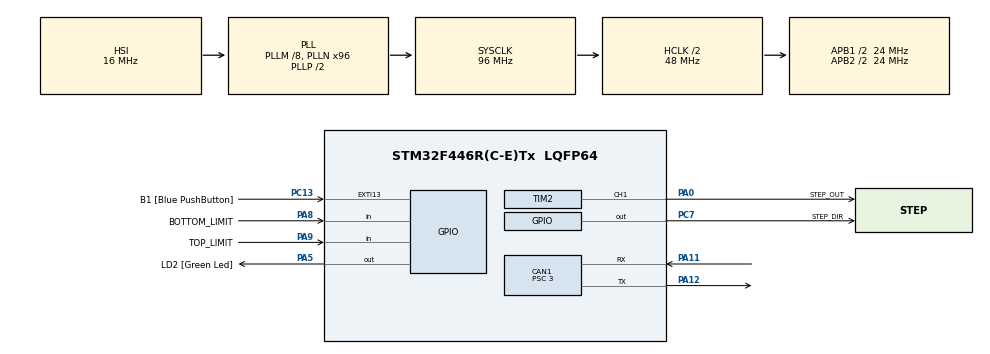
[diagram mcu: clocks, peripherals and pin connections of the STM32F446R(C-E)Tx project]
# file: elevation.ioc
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CAN1.BS1=CAN_BS1_13TQ
CAN1.BS2=CAN_BS2_2TQ
CAN1.CalculateBaudRate=500000
CAN1.CalculateTimeBit=2000
CAN1.CalculateTimeQuantum=125.0
CAN1.Prescaler=3
Mcu.Family=STM32F4
Mcu.Name=STM32F446R(C-E)Tx
Mcu.Package=LQFP64
NVIC.CAN1_RX0_IRQn=true\:0\:0\:false\:false\:true\:true\:true\:true
NVIC.PriorityGroup=NVIC_PRIORITYGROUP_0
NVIC.TIM2_IRQn=true\:0\:0\:false\:false\:true\:true\:true\:true
PA0-WKUP.GPIO_Label=STEP_OUT
PA0-WKUP.Signal=S_TIM2_CH1_ETR
PA11.Mode=CAN_Activate
PA11.Signal=CAN1_RX
PA12.Mode=CAN_Activate
PA12.Signal=CAN1_TX
PA13.GPIO_Label=TMS
PA13.Signal=SYS_JTMS-SWDIO
PA14.GPIO_Label=TCK
PA14.Signal=SYS_JTCK-SWCLK
PA2.GPIO_Label=USART_TX
PA2.Signal=USART2_TX
PA3.GPIO_Label=USART_RX
PA3.Signal=USART2_RX
PA5.GPIO_Label=LD2 [Green Led]
PA5.Signal=GPIO_Output
PA8.GPIO_Label=BOTTOM_LIMIT
PA8.GPIO_PuPd=GPIO_PULLUP
PA8.Signal=GPIO_Input
PA9.GPIO_Label=TOP_LIMIT
PA9.GPIO_PuPd=GPIO_PULLUP
PA9.Signal=GPIO_Input
PB3.GPIO_Label=SWO
PB3.Signal=SYS_JTDO-SWO
PC13.GPIO_Label=B1 [Blue PushButton]
PC13.GPIO_ModeDefaultEXTI=GPIO_MODE_IT_FALLING
PC13.Signal=GPXTI13
PC14-OSC32_IN.Signal=RCC_OSC32_IN
PC15-OSC32_OUT.Signal=RCC_OSC32_OUT
PC7.GPIO_Label=STEP_DIR
PC7.GPIO_PuPd=GPIO_PULLDOWN
PC7.PinState=GPIO_PIN_SET
PC7.Signal=GPIO_Output
PH0-OSC_IN.Signal=RCC_OSC_IN
PH1-OSC_OUT.Signal=RCC_OSC_OUT
ProjectManager.HeapSize=0x200
ProjectManager.StackSize=0x400
ProjectManager.TargetToolchain=STM32CubeIDE
RCC.AHBCLKDivider=RCC_SYSCLK_DIV2
RCC.AHBFreq_Value=48000000
RCC.APB1CLKDivider=RCC_HCLK_DIV2
RCC.APB1Freq_Value=24000000
RCC.APB1TimFreq_Value=48000000
RCC.APB2CLKDivider=RCC_HCLK_DIV2
RCC.APB2Freq_Value=24000000
RCC.APB2TimFreq_Value=48000000
RCC.CortexFreq_Value=48000000
RCC.FLatency-AdvancedSettings=FLASH_LATENCY_1
RCC.HCLKFreq_Value=48000000
RCC.HSE_VALUE=8000000
RCC.HSI_VALUE=16000000
RCC.LSE_VALUE=32768
RCC.PLLM=8
RCC.PLLN=96
RCC.SYSCLKFreq_VALUE=96000000
RCC.SYSCLKSource=RCC_SYSCLKSOURCE_PLLCLK
RCC.USBFreq_Value=96000000
RCC.VCOOutputFreq_Value=192000000
SH.S_TIM2_CH1_ETR.0=TIM2_CH1,PWM Generation1 CH1
TIM2.Channel-PWM\ Generation1\ CH1=TIM_CHANNEL_1
TIM2.Prescaler=47
board=NUCLEO-F446RE

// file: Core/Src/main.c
/* USER CODE BEGIN Header */
/**
  ******************************************************************************
  * @file           : main.c
  * @brief          : Main program body
  ******************************************************************************
  * @attention
  *
  * Copyright (c) 2026 STMicroelectronics.
  * All rights reserved.
  *
  * This software is licensed under terms that can be found in the LICENSE file
  * in the root directory of this software component.
  * If no LICENSE file comes with this software, it is provided AS-IS.
  *
  ******************************************************************************
  */
/* USER CODE END Header */
#include "main.h"

/* USER CODE BEGIN Includes */
#include "can_device.h"
#include "math.h"
/* USER CODE END Includes */

/* USER CODE BEGIN PD */
// subsystem constants
#define MIN_HEIGHT 0 // TODO needs to be calculated and set based on physical measurements (meters)
#define MAX_HEIGHT 3.0 // TODO needs to be calculated and set based on physical measurements (meters)

#define CONV_FACTOR 769230.7692

#define MOTOR_DIR_UP 0
#define MOTOR_DIR_DOWN 1

// ---------------- CAN message constants (can be added to form message) ----------------
// device id bits [8:5]
#define CAN_DEV_ID 0x100

// priority bits (first two bits of CAN ID)
#define CAN_PR_CRIT 0x000 // 0b00
#define CAN_PR_CTRL 0x200 // 0b01
#define CAN_PR_STAT 0x400 // 0b10
#define CAN_PR_DBUG 0x600 // 0b11

// message type bits (last five bits)
#define FILLER_MESSAGE 0x000

// CAN receive filter IDs
#define CAN_MSG_GLOBAL_STOP 0x000
#define CAN_MSG_HEARTBEAT 0x001
#define CAN_MSG_SET_HEIGHT 0x224

#define FILTER_LIST_LEN 3

/* USER CODE END PD */

CAN_HandleTypeDef hcan1;

TIM_HandleTypeDef htim2;

/* USER CODE BEGIN PV */
CANDevice_t can_dev;
uint16_t rx_id_list[] = {CAN_MSG_GLOBAL_STOP, CAN_MSG_HEARTBEAT, CAN_MSG_SET_HEIGHT};

float current_height = 0; // should be the height of the platform and is respective to both motors

// stepping vars
uint32_t steps_remaining = 0;
uint8_t motor_moving = 0;
uint8_t update_height_flag = 0;
float target_height = 0.0;
uint16_t motor_delay_us = 200; // delay between pulses using pwm counter, in micro seconds

// set the incremental height count
float height_inc = 1 / CONV_FACTOR;

/* USER CODE END PV */

void SystemClock_Config(void);
static void MX_GPIO_Init(void);
static void MX_CAN1_Init(void);
static void MX_TIM2_Init(void);
/* USER CODE BEGIN PFP */
// CAN function callback plus helpers
static void can_rx_callback(CANDevice_t *device);
static void proccess_can_data(uint16_t message_id, uint8_t *data);

// stepper control functions
static void start_motor_movement(uint32_t steps, uint8_t direction, uint16_t delay_us_seconds); // direction: 0 is up and 1 is down

// limit switch functions
static int get_bottom_limit();
static int get_top_limit();

// helper functions
static int dist_to_steps(double height);
static float steps_to_dist(int steps);
/* USER CODE END PFP */

int main(void)
{

  /* MCU Configuration--------------------------------------------------------*/

  /* Reset of all peripherals, Initializes the Flash interface and the Systick. */
  HAL_Init();

  /* Configure the system clock */
  SystemClock_Config();

  /* Initialize all configured peripherals */
  MX_GPIO_Init();
  MX_CAN1_Init();
  MX_TIM2_Init();
  /* USER CODE BEGIN 2 */
  // start CAN device
  device_can_init(&can_dev, &hcan1);

  // config the CAN device filter banks
  can_config_filter(&can_dev, rx_id_list, FILTER_LIST_LEN);

  // link the can rx callback
  link_rx_callback(&can_dev, can_rx_callback);
  /* USER CODE END 2 */

  /* Infinite loop */
  /* USER CODE BEGIN WHILE */
  target_height = -1;
  update_height_flag = 1;
  while (1)
  {
	  if(get_bottom_limit()) current_height = MIN_HEIGHT;
	  if(get_top_limit()) current_height = MAX_HEIGHT;

	  if(update_height_flag) {
		  update_height_flag = 0;

		  float height_diff = target_height - current_height;
		  int steps = dist_to_steps(height_diff);

		  if (height_diff > 0) {
			  start_motor_movement(steps, MOTOR_DIR_UP, motor_delay_us);
		  } else if (height_diff < 0) {
			  start_motor_movement(steps, MOTOR_DIR_DOWN, motor_delay_us);
		  }
	  }

    /* USER CODE END WHILE */

  }
}

void SystemClock_Config(void)
{
  RCC_OscInitTypeDef RCC_OscInitStruct = {0};
  RCC_ClkInitTypeDef RCC_ClkInitStruct = {0};

  /** Configure the main internal regulator output voltage
  */
  __HAL_RCC_PWR_CLK_ENABLE();
  __HAL_PWR_VOLTAGESCALING_CONFIG(PWR_REGULATOR_VOLTAGE_SCALE3);

  /** Initializes the RCC Oscillators according to the specified parameters
  * in the RCC_OscInitTypeDef structure.
  */
  RCC_OscInitStruct.OscillatorType = RCC_OSCILLATORTYPE_HSI;
  RCC_OscInitStruct.HSIState = RCC_HSI_ON;
  RCC_OscInitStruct.HSICalibrationValue = RCC_HSICALIBRATION_DEFAULT;
  RCC_OscInitStruct.PLL.PLLState = RCC_PLL_ON;
  RCC_OscInitStruct.PLL.PLLSource = RCC_PLLSOURCE_HSI;
  RCC_OscInitStruct.PLL.PLLM = 8;
  RCC_OscInitStruct.PLL.PLLN = 96;
  RCC_OscInitStruct.PLL.PLLP = RCC_PLLP_DIV2;
  RCC_OscInitStruct.PLL.PLLQ = 2;
  RCC_OscInitStruct.PLL.PLLR = 2;
  if (HAL_RCC_OscConfig(&RCC_OscInitStruct) != HAL_OK)
  {
    Error_Handler();
  }

  /** Initializes the CPU, AHB and APB buses clocks
  */
  RCC_ClkInitStruct.ClockType = RCC_CLOCKTYPE_HCLK|RCC_CLOCKTYPE_SYSCLK
                              |RCC_CLOCKTYPE_PCLK1|RCC_CLOCKTYPE_PCLK2;
  RCC_ClkInitStruct.SYSCLKSource = RCC_SYSCLKSOURCE_PLLCLK;
  RCC_ClkInitStruct.AHBCLKDivider = RCC_SYSCLK_DIV2;
  RCC_ClkInitStruct.APB1CLKDivider = RCC_HCLK_DIV2;
  RCC_ClkInitStruct.APB2CLKDivider = RCC_HCLK_DIV2;

  if (HAL_RCC_ClockConfig(&RCC_ClkInitStruct, FLASH_LATENCY_1) != HAL_OK)
  {
    Error_Handler();
  }
}

static void MX_CAN1_Init(void)
{

  hcan1.Instance = CAN1;
  hcan1.Init.Prescaler = 3;
  hcan1.Init.Mode = CAN_MODE_NORMAL;
  hcan1.Init.SyncJumpWidth = CAN_SJW_1TQ;
  hcan1.Init.TimeSeg1 = CAN_BS1_13TQ;
  hcan1.Init.TimeSeg2 = CAN_BS2_2TQ;
  hcan1.Init.TimeTriggeredMode = DISABLE;
  hcan1.Init.AutoBusOff = DISABLE;
  hcan1.Init.AutoWakeUp = DISABLE;
  hcan1.Init.AutoRetransmission = DISABLE;
  hcan1.Init.ReceiveFifoLocked = DISABLE;
  hcan1.Init.TransmitFifoPriority = DISABLE;
  if (HAL_CAN_Init(&hcan1) != HAL_OK)
  {
    Error_Handler();
  }

}

static void MX_TIM2_Init(void)
{

  TIM_MasterConfigTypeDef sMasterConfig = {0};
  TIM_OC_InitTypeDef sConfigOC = {0};

  htim2.Instance = TIM2;
  htim2.Init.Prescaler = 47;
  htim2.Init.CounterMode = TIM_COUNTERMODE_UP;
  htim2.Init.Period = 4294967295;
  htim2.Init.ClockDivision = TIM_CLOCKDIVISION_DIV1;
  htim2.Init.AutoReloadPreload = TIM_AUTORELOAD_PRELOAD_DISABLE;
  if (HAL_TIM_PWM_Init(&htim2) != HAL_OK)
  {
    Error_Handler();
  }
  sMasterConfig.MasterOutputTrigger = TIM_TRGO_RESET;
  sMasterConfig.MasterSlaveMode = TIM_MASTERSLAVEMODE_DISABLE;
  if (HAL_TIMEx_MasterConfigSynchronization(&htim2, &sMasterConfig) != HAL_OK)
  {
    Error_Handler();
  }
  sConfigOC.OCMode = TIM_OCMODE_PWM1;
  sConfigOC.Pulse = 0;
  sConfigOC.OCPolarity = TIM_OCPOLARITY_HIGH;
  sConfigOC.OCFastMode = TIM_OCFAST_DISABLE;
  if (HAL_TIM_PWM_ConfigChannel(&htim2, &sConfigOC, TIM_CHANNEL_1) != HAL_OK)
  {
    Error_Handler();
  }
  HAL_TIM_MspPostInit(&htim2);

}

static void MX_GPIO_Init(void)
{
  GPIO_InitTypeDef GPIO_InitStruct = {0};

  /* GPIO Ports Clock Enable */
  __HAL_RCC_GPIOC_CLK_ENABLE();
  __HAL_RCC_GPIOH_CLK_ENABLE();
  __HAL_RCC_GPIOA_CLK_ENABLE();
  __HAL_RCC_GPIOB_CLK_ENABLE();

  /*Configure GPIO pin Output Level */
  HAL_GPIO_WritePin(LD2_GPIO_Port, LD2_Pin, GPIO_PIN_RESET);

  /*Configure GPIO pin Output Level */
  HAL_GPIO_WritePin(STEP_DIR_GPIO_Port, STEP_DIR_Pin, GPIO_PIN_SET);

  /*Configure GPIO pin : B1_Pin */
  GPIO_InitStruct.Pin = B1_Pin;
  GPIO_InitStruct.Mode = GPIO_MODE_IT_FALLING;
  GPIO_InitStruct.Pull = GPIO_NOPULL;
  HAL_GPIO_Init(B1_GPIO_Port, &GPIO_InitStruct);

  /*Configure GPIO pins : USART_TX_Pin USART_RX_Pin */
  GPIO_InitStruct.Pin = USART_TX_Pin|USART_RX_Pin;
  GPIO_InitStruct.Mode = GPIO_MODE_AF_PP;
  GPIO_InitStruct.Pull = GPIO_NOPULL;
  GPIO_InitStruct.Speed = GPIO_SPEED_FREQ_VERY_HIGH;
  GPIO_InitStruct.Alternate = GPIO_AF7_USART2;
  HAL_GPIO_Init(GPIOA, &GPIO_InitStruct);

  /*Configure GPIO pin : LD2_Pin */
  GPIO_InitStruct.Pin = LD2_Pin;
  GPIO_InitStruct.Mode = GPIO_MODE_OUTPUT_PP;
  GPIO_InitStruct.Pull = GPIO_NOPULL;
  GPIO_InitStruct.Speed = GPIO_SPEED_FREQ_LOW;
  HAL_GPIO_Init(LD2_GPIO_Port, &GPIO_InitStruct);

  /*Configure GPIO pin : STEP_DIR_Pin */
  GPIO_InitStruct.Pin = STEP_DIR_Pin;
  GPIO_InitStruct.Mode = GPIO_MODE_OUTPUT_PP;
  GPIO_InitStruct.Pull = GPIO_PULLDOWN;
  GPIO_InitStruct.Speed = GPIO_SPEED_FREQ_LOW;
  HAL_GPIO_Init(STEP_DIR_GPIO_Port, &GPIO_InitStruct);

  /*Configure GPIO pins : BOTTOM_LIMIT_Pin TOP_LIMIT_Pin */
  GPIO_InitStruct.Pin = BOTTOM_LIMIT_Pin|TOP_LIMIT_Pin;
  GPIO_InitStruct.Mode = GPIO_MODE_INPUT;
  GPIO_InitStruct.Pull = GPIO_PULLUP;
  HAL_GPIO_Init(GPIOA, &GPIO_InitStruct);

}

/* USER CODE BEGIN 4 */
static void start_motor_movement(uint32_t steps, uint8_t direction, uint16_t delay_us_seconds) {
	if(steps <= 0 || motor_moving) return; // TODO might want to remove later based on logic

	// set direction
	HAL_GPIO_WritePin(GPIOC, STEP_DIR_Pin, direction);

	__HAL_TIM_SET_COUNTER(&htim2, 0);

	__HAL_TIM_CLEAR_IT(&htim2, TIM_IT_CC1);

	// setting the compare ARR to make delay using pwm counter
	__HAL_TIM_SET_AUTORELOAD(&htim2, delay_us_seconds);
	__HAL_TIM_SET_COMPARE(&htim2, TIM_CHANNEL_1, 1);

	// set control vars
	steps_remaining = steps;
	motor_moving = 1;
	if (direction == MOTOR_DIR_UP) 	height_inc = fabs(height_inc);
	if(direction == MOTOR_DIR_DOWN) height_inc = -fabs(height_inc);

	// start the pulse gen
	HAL_TIM_PWM_Start_IT(&htim2, TIM_CHANNEL_1);

}

static int get_bottom_limit() {
	return HAL_GPIO_ReadPin(GPIOA, BOTTOM_LIMIT_Pin);
}

static int get_top_limit() {
	return 0;// HAL_GPIO_ReadPin(GPIOA, TOP_LIMIT_Pin);
}

static int dist_to_steps(double height){
	int steps = CONV_FACTOR * height;
	return abs(steps);
}

static float steps_to_dist(int steps) {
	float dist = (1 / CONV_FACTOR) * steps;
	return dist;
}

// callback for receiving CAN data
static void can_rx_callback(CANDevice_t *device) {
	if (device->msgReceived) {
		// Only pull data if we actually have a new message
		uint8_t *rx_data = device->rxBuffer;
		uint16_t message_id = device->rxHeader.StdId;

		proccess_can_data(message_id, rx_data);

		device->msgReceived = false;
	}
}

// proccess the can data based on the message ID (little endian data protocol)
static void proccess_can_data(uint16_t message_id, uint8_t *data) {
    float received_val;

    // Copy the 4 bytes back into a float variable
    memcpy(&received_val, data, sizeof(float));

    if (received_val < MAX_HEIGHT && received_val > MIN_HEIGHT) {
		switch (message_id) {
			case CAN_MSG_SET_HEIGHT:
				target_height = received_val;
				update_height_flag = 1;
				break;
		}
    }
}

// interrupt overrides
void HAL_TIM_PWM_PulseFinishedCallback(TIM_HandleTypeDef *htim) {
	if(htim->Instance == TIM2) {
		if (get_top_limit() || get_bottom_limit()) {
			steps_remaining = 0;
		}

		if (steps_remaining > 0) {
			steps_remaining--;
			current_height += height_inc;
		}

		if(steps_remaining == 0) {
			HAL_TIM_PWM_Stop_IT(&htim2, TIM_CHANNEL_1);
			motor_moving = 0;
		}
	}
}

/* USER CODE END 4 */

void Error_Handler(void)
{
  __disable_irq();
  while (1)
  {
  }
}
